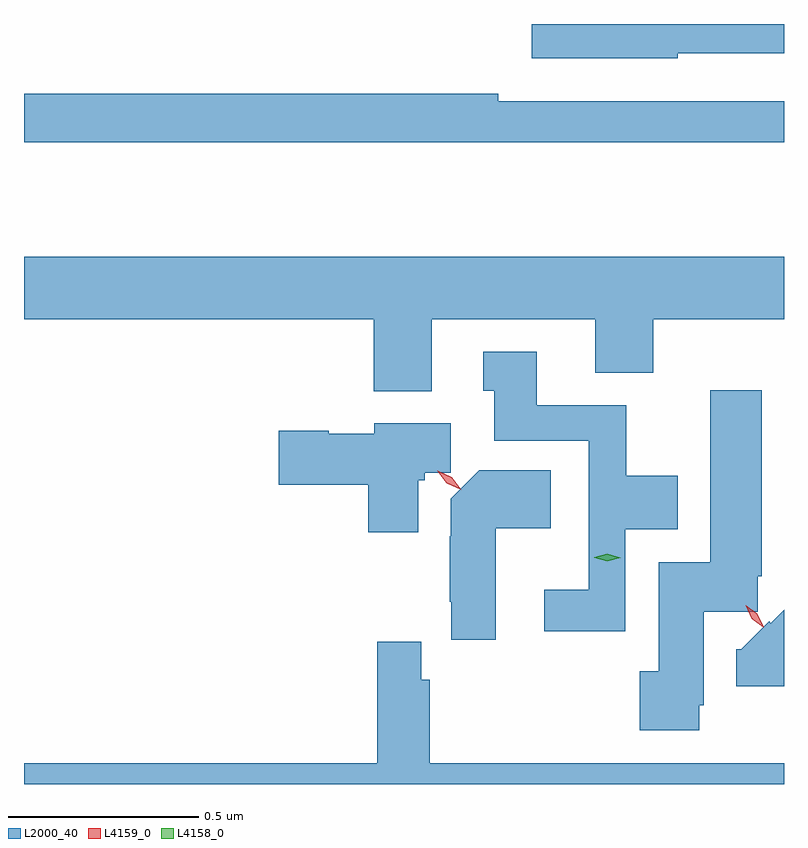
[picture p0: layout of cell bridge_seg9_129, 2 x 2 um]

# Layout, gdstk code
import gdstk
lib = gdstk.Library(unit=1e-6, precision=1e-09)
def P(c, l, *ps):  # polygons
    for p in ps: c.add(gdstk.Polygon(p, *l))
L2000_40 = (2000, 40)
L4158_0 = (4158, 0)
L4159_0 = (4159, 0)

bridge_seg9_129 = lib.new_cell('bridge_seg9_129')
P(bridge_seg9_129, L2000_40, [(409.032,1246.404),(409.312,1246.404),(409.312,1246.481),(408.648,1246.481),(408.648,1246.391),(409.032,1246.391)],
  [(409.312,1246.278),(408.56,1246.278),(408.56,1246.298),(407.312,1246.298),(407.312,1246.17),(409.312,1246.17)],
  [(408.385,1245.704),(408.815,1245.704),(408.815,1245.563),(408.968,1245.563),(408.968,1245.704),(409.312,1245.704),(409.312,1245.868),(407.312,1245.868),(407.312,1245.704),(408.233,1245.704),(408.233,1245.515),(408.385,1245.515)],
  [(408.894,1245.152),(409.033,1245.152),(409.033,1245.292),(408.897,1245.292),(408.897,1245.478),(408.661,1245.478),(408.661,1245.619),(408.521,1245.619),(408.521,1245.516),(408.549,1245.516),(408.549,1245.384),(408.798,1245.384),(408.798,1244.992),(408.681,1244.992),(408.681,1244.883),(408.894,1244.883)],
  [(409.089,1244.688),(409.101,1244.688),(409.101,1244.934),(409.243,1244.934),(409.243,1245.028),(409.254,1245.028),(409.254,1245.517),(409.118,1245.517),(409.118,1245.064),(408.983,1245.064),(408.983,1244.778),(408.932,1244.778),(408.932,1244.622),(409.089,1244.622)],
  [(408.35,1245.281),(408.366,1245.281),(408.366,1245.3),(408.435,1245.3),(408.435,1245.43),(408.234,1245.43),(408.234,1245.403),(408.114,1245.403),(408.114,1245.411),(407.982,1245.411),(407.982,1245.269),(408.218,1245.269),(408.218,1245.144),(408.35,1245.144)],
  [(408.554,1245.154),(408.698,1245.154),(408.698,1245.307),(408.51,1245.307),(408.435,1245.232),(408.435,1245.133),(408.432,1245.133),(408.432,1244.961),(408.436,1244.961),(408.436,1244.861),(408.554,1244.861)],
  [(409.312,1244.939),(409.277,1244.904),(409.273,1244.909),(409.199,1244.835),(409.186,1244.835),(409.186,1244.738),(409.312,1244.738)],
  [(409.312,1244.536),(408.38,1244.536),(408.38,1244.756),(408.357,1244.756),(408.357,1244.856),(408.242,1244.856),(408.242,1244.536),(407.312,1244.536),(407.312,1244.481),(409.312,1244.481)])
P(bridge_seg9_129, L4158_0, [(408.847,1245.067),(408.813,1245.077),(408.813,1245.077),(408.813,1245.078),(408.847,1245.087),(408.882,1245.077),(408.882,1245.077),(408.882,1245.076)])
P(bridge_seg9_129, L4159_0, [(409.258,1244.893),(409.227,1244.916),(409.211,1244.952),(409.211,1244.952),(409.211,1244.952),(409.242,1244.929),(409.259,1244.893),(409.259,1244.893)],
  [(408.463,1245.255),(408.425,1245.273),(408.4,1245.306),(408.4,1245.306),(408.401,1245.306),(408.438,1245.288),(408.463,1245.255),(408.463,1245.255)])

lib.write_gds('bridge_seg9_129.gds')
